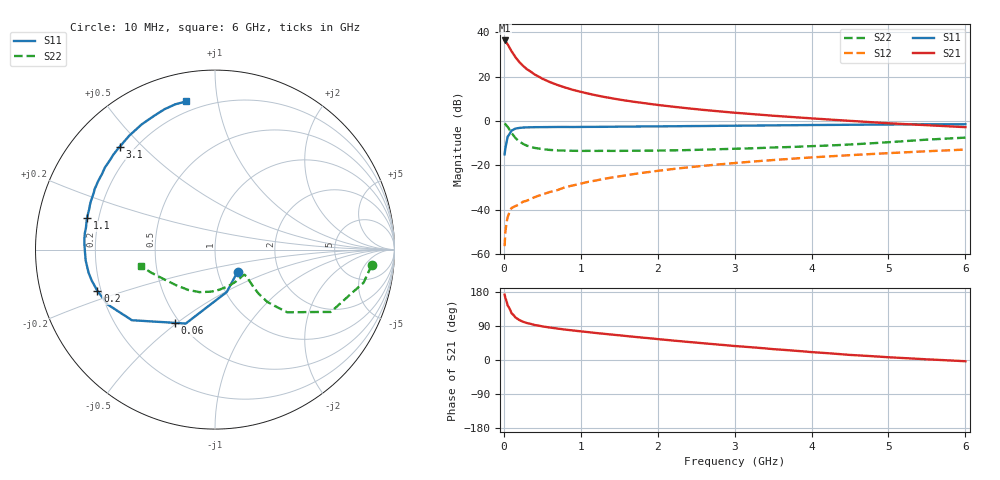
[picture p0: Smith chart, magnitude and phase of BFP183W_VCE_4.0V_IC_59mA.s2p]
! Infineon Technologies  Discrete & RF Semiconductors
! BFP183W
! VCE =  4.0 V,  IC =  59 mA
! Common Emitter S-Parameters:  Jan 2017
# GHz  S  MA  R  50
!  f  S11  S21  S12  S22
! GHz  MAG  ANG  MAG  ANG  MAG  ANG  MAG  ANG
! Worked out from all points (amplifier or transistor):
!   77 points, 10 MHz to 6 GHz, reference 50 ohm
!   highest |S21| = 36.3 dB at 10 MHz (marker M1)
!   |S21| within 3 dB of that: start of sweep to 70.21 MHz
!   unconditionally stable (mu >= 1): start of sweep to 11.12 MHz; 423.3 MHz to 3.879 GHz
!   at 130 MHz: K = 0.53, MSG = 34.3 dB, |S12| = -38.7 dB
!   at 2.2 GHz: K = 1.15, MAG = 11.7 dB, |S12| = -21.7 dB
!   at 6 GHz: K = 0.90, MSG = 5.0 dB, |S12| = -12.9 dB
!   S11 on the Smith chart (normalised r, x): 10 MHz: 1.24, -0.32; 60 MHz: 0.47, -0.49; 200 MHz: 0.19, -0.17; 1.1 GHz: 0.16, +0.12; 3.1 GHz: 0.15, +0.43; 6 GHz: 0.14, +0.82
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0.01  0.1765 -44.7  65.19 172.4  0.0015 80.3  0.8769 -5.7
0.02  0.2453 -74.5  63.5 163.9  0.0032 77.7  0.8484 -12.5
0.05  0.443 -111.6  53.27 143.8  0.0068 58.2  0.7329 -28.3
0.06  0.4652 -118.6  49.67 140.8  0.0076 56.4  0.6906 -30.2
0.1  0.6073 -139.6  37.27 123.3  0.0109 52.0  0.5322 -41.0
0.15  0.6717 -152.9  27.44 112.5  0.012 47.1  0.4128 -45.0
0.2  0.6942 -160.6  21.35 105.6  0.0131 48.0  0.3457 -45.3
0.25  0.7085 -166.0  17.43 100.9  0.0151 51.7  0.3035 -44.4
0.3  0.716 -169.6  14.66 97.5  0.0159 54.1  0.2765 -43.2
0.4  0.723 -175.1  11.16 92.4  0.0191 55.9  0.2463 -41.5
0.5  0.7247 -179.0  8.962 88.7  0.0219 60.5  0.2313 -40.5
0.6  0.7277 177.9  7.499 85.6  0.025 62.5  0.2218 -40.4
0.7  0.7304 175.3  6.437 82.9  0.0277 65.4  0.2165 -40.4
0.9  0.7292 170.3  5.006 77.9  0.0351 67.0  0.2121 -42.9
1.1  0.7344 166.3  4.12 73.5  0.0424 68.6  0.2113 -46.0
1.3  0.736 162.3  3.488 69.2  0.0492 68.9  0.2115 -49.7
1.5  0.7423 158.7  3.031 65.2  0.0563 69.2  0.2109 -54.1
2.1  0.7556 148.0  2.191 53.3  0.0786 67.6  0.2155 -69.6
3.1  0.7814 132.7  1.485 35.5  0.116 62.2  0.2379 -98.9
4.1  0.8098 119.2  1.113 19.5  0.1541 55.4  0.2735 -126.7
5.1  0.8326 108.8  0.868 6.2  0.1914 48.0  0.3398 -152.7
6  0.8414 100.9  0.723 -3.3  0.2261 40.9  0.4203 -167.2
